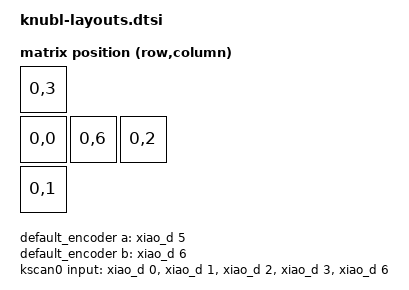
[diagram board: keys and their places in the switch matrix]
#include <dt-bindings/zmk/matrix_transform.h>
#include <physical_layouts.dtsi>



/ {
  chosen {
    zmk,kscan = &kscan0;
    // zmk,matrix-transform = &default_transform;
    zmk,physical-layout = &physical_layout0;
  };

  default_transform: keymap_transform_0 {
    compatible = "zmk,matrix-transform";
      columns = <4>;
      rows = <1>;
      map = <
                RC(0,3)  
        RC(0,0) RC(0,6) RC(0,2)     
                RC(0,1)
      >;
  };

  default_encoder: encoder_default {
    compatible = "alps,ec11";
    a-gpios = <&xiao_d 5 (GPIO_ACTIVE_HIGH | GPIO_PULL_UP)>;
    b-gpios = <&xiao_d 6 (GPIO_ACTIVE_HIGH | GPIO_PULL_UP)>;
    steps = <15>;
    status = "okay"; 
  };

  sensors: sensors {
    compatible = "zmk,keymap-sensors";
    sensors = <&default_encoder>;
    triggers-per-rotation = <15>;
  };

  physical_layout0: physical_layout_0 {
    compatible = "zmk,physical-layout";
    display-name = "Default Layout";
    transform = <&default_transform>;
    kscan = <&kscan0>;

    keys  //                   w   h    x    y     rot    rx    ry
      = <&key_physical_attrs 100 100  100    0       0     0     0>
      , <&key_physical_attrs 100 100  100  100       0     0     0>
      , <&key_physical_attrs 100 100  200  100       0     0     0>
      , <&key_physical_attrs 100 100  300  100       0     0     0>
      , <&key_physical_attrs 100 100  100  200       0     0     0>

      ;
  };


  kscan0: kscan0 {
    compatible = "zmk,kscan-gpio-direct";

    input-gpios 
      = <&xiao_d  0 (GPIO_ACTIVE_LOW | GPIO_PULL_UP)>
      , <&xiao_d  1 (GPIO_ACTIVE_LOW | GPIO_PULL_UP)>
      , <&xiao_d  2 (GPIO_ACTIVE_LOW | GPIO_PULL_UP)>
      , <&xiao_d  3 (GPIO_ACTIVE_LOW | GPIO_PULL_UP)>
      , <&xiao_d  6 (GPIO_ACTIVE_LOW | GPIO_PULL_UP)>
      ;
  };
};

&default_encoder {
  status = "okay";
};

&physical_layout0 {
  transform = <&default_transform>;
};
